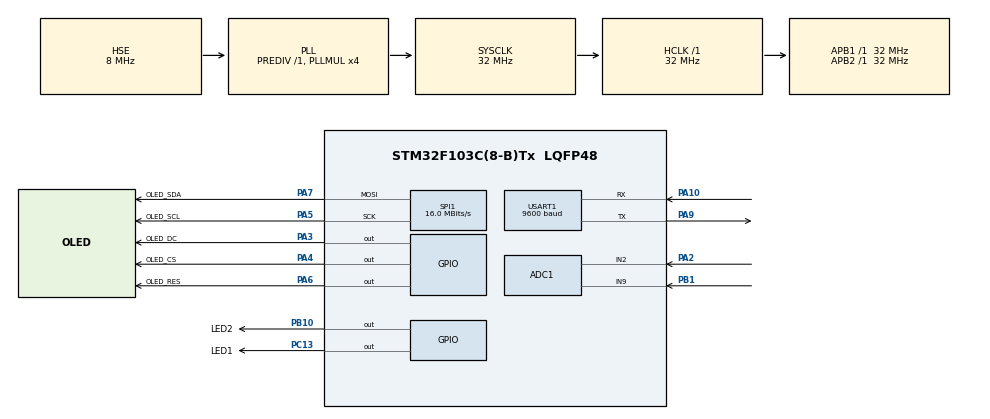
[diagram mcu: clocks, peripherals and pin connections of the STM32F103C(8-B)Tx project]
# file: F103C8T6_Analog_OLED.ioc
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ADC1.Channel-2\#ChannelRegularConversion=ADC_CHANNEL_2
ADC1.Channel-3\#ChannelRegularConversion=ADC_CHANNEL_9
ADC1.ContinuousConvMode=ENABLE
ADC1.DataAlign=ADC_DATAALIGN_RIGHT
ADC1.DiscontinuousConvMode=DISABLE
ADC1.EnableRegularConversion=ENABLE
ADC1.NbrOfConversion=2
ADC1.NbrOfConversionFlag=1
ADC1.Rank-2\#ChannelRegularConversion=1
ADC1.Rank-3\#ChannelRegularConversion=2
ADC1.SamplingTime-2\#ChannelRegularConversion=ADC_SAMPLETIME_1CYCLE_5
ADC1.SamplingTime-3\#ChannelRegularConversion=ADC_SAMPLETIME_1CYCLE_5
ADC1.master=1
Dma.ADC1.0.Direction=DMA_PERIPH_TO_MEMORY
Dma.ADC1.0.Instance=DMA1_Channel1
Dma.ADC1.0.MemDataAlignment=DMA_MDATAALIGN_HALFWORD
Dma.ADC1.0.MemInc=DMA_MINC_ENABLE
Dma.ADC1.0.Mode=DMA_CIRCULAR
Dma.ADC1.0.PeriphDataAlignment=DMA_PDATAALIGN_HALFWORD
Dma.ADC1.0.PeriphInc=DMA_PINC_DISABLE
Dma.ADC1.0.Priority=DMA_PRIORITY_HIGH
Dma.Request0=ADC1
Mcu.Family=STM32F1
Mcu.Name=STM32F103C(8-B)Tx
Mcu.Package=LQFP48
NVIC.ADC1_2_IRQn=true\:0\:0\:false\:false\:true\:true\:true
NVIC.DMA1_Channel1_IRQn=true\:0\:0\:false\:false\:true\:false\:true
NVIC.PriorityGroup=NVIC_PRIORITYGROUP_4
NVIC.USART1_IRQn=true\:0\:0\:false\:false\:true\:true\:true
PA10.Mode=Asynchronous
PA10.Signal=USART1_RX
PA13.Mode=Serial_Wire
PA13.Signal=SYS_JTMS-SWDIO
PA14.Mode=Serial_Wire
PA14.Signal=SYS_JTCK-SWCLK
PA2.Signal=ADCx_IN2
PA3.GPIO_Label=OLED_DC
PA3.GPIO_PuPd=GPIO_PULLUP
PA3.GPIO_Speed=GPIO_SPEED_FREQ_HIGH
PA3.PinState=GPIO_PIN_SET
PA3.Signal=GPIO_Output
PA4.GPIO_Label=OLED_CS
PA4.GPIO_ModeDefaultOutputPP=GPIO_MODE_OUTPUT_PP
PA4.GPIO_PuPd=GPIO_PULLUP
PA4.GPIO_Speed=GPIO_SPEED_FREQ_HIGH
PA4.PinState=GPIO_PIN_SET
PA4.Signal=GPIO_Output
PA5.GPIO_Label=OLED_SCL
PA5.Mode=TX_Only_Simplex_Unidirect_Master
PA5.Signal=SPI1_SCK
PA6.GPIO_Label=OLED_RES
PA6.GPIO_ModeDefaultOutputPP=GPIO_MODE_OUTPUT_PP
PA6.GPIO_PuPd=GPIO_PULLUP
PA6.GPIO_Speed=GPIO_SPEED_FREQ_HIGH
PA6.PinState=GPIO_PIN_SET
PA6.Signal=GPIO_Output
PA7.GPIO_Label=OLED_SDA
PA7.Mode=TX_Only_Simplex_Unidirect_Master
PA7.Signal=SPI1_MOSI
PA9.Mode=Asynchronous
PA9.Signal=USART1_TX
PB1.Signal=ADCx_IN9
PB10.GPIO_Label=LED2
PB10.GPIO_PuPd=GPIO_PULLDOWN
PB10.GPIO_Speed=GPIO_SPEED_FREQ_HIGH
PB10.PinState=GPIO_PIN_RESET
PB10.Signal=GPIO_Output
PC13-TAMPER-RTC.GPIO_Label=LED1
PC13-TAMPER-RTC.GPIO_ModeDefaultOutputPP=GPIO_MODE_OUTPUT_PP
PC13-TAMPER-RTC.GPIO_PuPd=GPIO_PULLUP
PC13-TAMPER-RTC.GPIO_Speed=GPIO_SPEED_FREQ_HIGH
PC13-TAMPER-RTC.PinState=GPIO_PIN_SET
PC13-TAMPER-RTC.Signal=GPIO_Output
PC14-OSC32_IN.Mode=LSE-External-Oscillator
PC14-OSC32_IN.Signal=RCC_OSC32_IN
PC15-OSC32_OUT.Mode=LSE-External-Oscillator
PC15-OSC32_OUT.Signal=RCC_OSC32_OUT
PD0-OSC_IN.Mode=HSE-External-Oscillator
PD0-OSC_IN.Signal=RCC_OSC_IN
PD1-OSC_OUT.Mode=HSE-External-Oscillator
PD1-OSC_OUT.Signal=RCC_OSC_OUT
ProjectManager.HeapSize=0x200
ProjectManager.StackSize=0x400
ProjectManager.TargetToolchain=STM32CubeIDE
RCC.ADCPresc=RCC_ADCPCLK2_DIV4
RCC.AHBFreq_Value=32000000
RCC.APB1Freq_Value=32000000
RCC.APB1TimFreq_Value=32000000
RCC.APB2Freq_Value=32000000
RCC.APB2TimFreq_Value=32000000
RCC.HCLKFreq_Value=32000000
RCC.PLLMUL=RCC_PLL_MUL4
RCC.PLLSourceVirtual=RCC_PLLSOURCE_HSE
RCC.SYSCLKFreq_VALUE=32000000
RCC.SYSCLKSource=RCC_SYSCLKSOURCE_PLLCLK
RCC.USBFreq_Value=32000000
SH.ADCx_IN2.0=ADC1_IN2,IN2
SH.ADCx_IN9.0=ADC1_IN9,IN9
SPI1.BaudRatePrescaler=SPI_BAUDRATEPRESCALER_2
SPI1.CalculateBaudRate=16.0 MBits/s
SPI1.Direction=SPI_DIRECTION_2LINES
SPI1.Mode=SPI_MODE_MASTER
SPI1.VirtualType=VM_MASTER
USART1.BaudRate=9600
USART1.VirtualMode=VM_ASYNC
board=custom

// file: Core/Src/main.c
/* USER CODE BEGIN Header */
/**
  ******************************************************************************
  * @file           : main.c
  * @brief          : Main program body
  ******************************************************************************
  * @attention
  *
  * Copyright (c) 2022 STMicroelectronics.
  * All rights reserved.
  *
  * This software is licensed under terms that can be found in the LICENSE file
  * in the root directory of this software component.
  * If no LICENSE file comes with this software, it is provided AS-IS.
  *
  ******************************************************************************
  */
/* USER CODE END Header */
#include "main.h"
#include "adc.h"
#include "dma.h"
#include "spi.h"
#include "usart.h"
#include "gpio.h"

/* USER CODE BEGIN Includes */
#include "stdio.h"
#include "OLED.h"
/* USER CODE END Includes */

void SystemClock_Config(void);

/* USER CODE BEGIN 0 */
void UR_Send_Infor();
u_int16_t ADC_Value1=0;
u_int16_t ADC_Volt1=0;
u_int16_t ADC_Value2=0;
u_int16_t ADC_Volt2=0;
u_int16_t V1_ARR[20]={0};
unsigned char Ur_buf[64];
unsigned char Ur_buf1[64];
unsigned char Tx_data[]="Hello,EPI!\n";
u_int16_t Average(u_int16_t*arr,u_int16_t length,u_int16_t MODE)
{int16_t i;
 u_int16_t sum=0;
 for(i=MODE;i<length;i+=2)
 {
	 sum+=arr[i];
 }
 return (sum/(length));

}

/* USER CODE END 0 */

int main(void)
{

  /* MCU Configuration--------------------------------------------------------*/

  /* Reset of all peripherals, Initializes the Flash interface and the Systick. */
  HAL_Init();

  /* Configure the system clock */
  SystemClock_Config();

  /* Initialize all configured peripherals */
  MX_GPIO_Init();
  MX_DMA_Init();
  MX_SPI1_Init();
  MX_USART1_UART_Init();
  MX_ADC1_Init();
  /* USER CODE BEGIN 2 */

   HAL_GPIO_WritePin(LED2_GPIO_Port, LED2_Pin, GPIO_PIN_RESET);
	OLED_init();
	OLED_full();
	delay_ms(10000);
	OLED_clear();
	HAL_GPIO_WritePin(LED1_GPIO_Port, LED1_Pin, GPIO_PIN_RESET);
	HAL_UART_Transmit(&huart1, Tx_data, sizeof(Tx_data), 10000);
	HAL_GPIO_WritePin(LED1_GPIO_Port, LED1_Pin, GPIO_PIN_SET);
	HAL_ADCEx_Calibration_Start(&hadc1);
    HAL_ADC_Start_DMA(&hadc1,(uint32_t*)V1_ARR,50);

   Show8X16_String(1,1,"Hello,EPI!");
  /* USER CODE END 2 */

  /* Infinite loop */
  /* USER CODE BEGIN WHILE */
  while (1)
  {
   ADC_Value1=2*Average(V1_ARR,20,0);
   ADC_Value2=2*Average(V1_ARR,20,1);
   ADC_Volt1=330.0/4096.0*ADC_Value1;
   delay_ms(100);
   ADC_Volt2=330.0/4096.0*ADC_Value2;
   delay_ms(100);
  sprintf(Ur_buf,"V1 = %d.%d%d V",(int)(ADC_Volt1/100),(int)(ADC_Volt1%100/10),(int)(ADC_Volt1%10));
  sprintf(Ur_buf1,"V2 = %d.%d%d V\r\n",(int)(ADC_Volt2/100),(int)(ADC_Volt2%100/10),(int)(ADC_Volt2%10));

  HAL_UART_Transmit(&huart1,Ur_buf , sizeof(Ur_buf), 5000);
  HAL_UART_Transmit(&huart1,Ur_buf1 , sizeof(Ur_buf1), 5000);
	Show8X16_String(2,1,Ur_buf);
	Show8X16_String(3,1,Ur_buf1);
	if(ADC_Volt1>300||ADC_Volt2>300)
	{
		Show8X16_String(4,1,"Warming!!!");
		HAL_GPIO_TogglePin(LED2_GPIO_Port, LED2_Pin);
        delay_ms(100);
	}
	else {
		Show8X16_String(4,1,"Safe.");
		HAL_GPIO_WritePin(LED2_GPIO_Port, LED2_Pin, GPIO_PIN_RESET);
	}
	delay_ms(1);

    /* USER CODE END WHILE */

  }
}

void SystemClock_Config(void)
{
  RCC_OscInitTypeDef RCC_OscInitStruct = {0};
  RCC_ClkInitTypeDef RCC_ClkInitStruct = {0};
  RCC_PeriphCLKInitTypeDef PeriphClkInit = {0};

  /** Initializes the RCC Oscillators according to the specified parameters
  * in the RCC_OscInitTypeDef structure.
  */
  RCC_OscInitStruct.OscillatorType = RCC_OSCILLATORTYPE_HSE;
  RCC_OscInitStruct.HSEState = RCC_HSE_ON;
  RCC_OscInitStruct.HSEPredivValue = RCC_HSE_PREDIV_DIV1;
  RCC_OscInitStruct.HSIState = RCC_HSI_ON;
  RCC_OscInitStruct.PLL.PLLState = RCC_PLL_ON;
  RCC_OscInitStruct.PLL.PLLSource = RCC_PLLSOURCE_HSE;
  RCC_OscInitStruct.PLL.PLLMUL = RCC_PLL_MUL4;
  if (HAL_RCC_OscConfig(&RCC_OscInitStruct) != HAL_OK)
  {
    Error_Handler();
  }
  /** Initializes the CPU, AHB and APB buses clocks
  */
  RCC_ClkInitStruct.ClockType = RCC_CLOCKTYPE_HCLK|RCC_CLOCKTYPE_SYSCLK
                              |RCC_CLOCKTYPE_PCLK1|RCC_CLOCKTYPE_PCLK2;
  RCC_ClkInitStruct.SYSCLKSource = RCC_SYSCLKSOURCE_PLLCLK;
  RCC_ClkInitStruct.AHBCLKDivider = RCC_SYSCLK_DIV1;
  RCC_ClkInitStruct.APB1CLKDivider = RCC_HCLK_DIV1;
  RCC_ClkInitStruct.APB2CLKDivider = RCC_HCLK_DIV1;

  if (HAL_RCC_ClockConfig(&RCC_ClkInitStruct, FLASH_LATENCY_1) != HAL_OK)
  {
    Error_Handler();
  }
  PeriphClkInit.PeriphClockSelection = RCC_PERIPHCLK_ADC;
  PeriphClkInit.AdcClockSelection = RCC_ADCPCLK2_DIV4;
  if (HAL_RCCEx_PeriphCLKConfig(&PeriphClkInit) != HAL_OK)
  {
    Error_Handler();
  }
}

void Error_Handler(void)
{
  __disable_irq();
  while (1)
  {
  }
}
